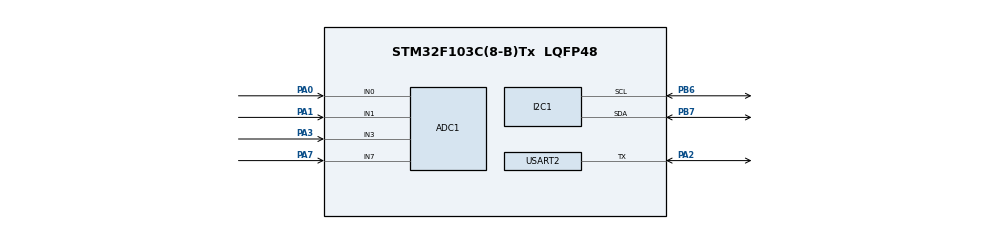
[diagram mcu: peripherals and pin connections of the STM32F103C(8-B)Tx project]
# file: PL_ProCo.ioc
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ADC1.Channel-0\#ChannelRegularConversion=ADC_CHANNEL_0
ADC1.Channel-1\#ChannelRegularConversion=ADC_CHANNEL_1
ADC1.Channel-2\#ChannelRegularConversion=ADC_CHANNEL_3
ADC1.Channel-3\#ChannelRegularConversion=ADC_CHANNEL_7
ADC1.ContinuousConvMode=ENABLE
ADC1.NbrOfConversion=4
ADC1.NbrOfConversionFlag=1
ADC1.Rank-0\#ChannelRegularConversion=1
ADC1.Rank-1\#ChannelRegularConversion=2
ADC1.Rank-2\#ChannelRegularConversion=3
ADC1.Rank-3\#ChannelRegularConversion=4
ADC1.SamplingTime-0\#ChannelRegularConversion=ADC_SAMPLETIME_55CYCLES_5
ADC1.SamplingTime-1\#ChannelRegularConversion=ADC_SAMPLETIME_55CYCLES_5
ADC1.SamplingTime-2\#ChannelRegularConversion=ADC_SAMPLETIME_55CYCLES_5
ADC1.SamplingTime-3\#ChannelRegularConversion=ADC_SAMPLETIME_55CYCLES_5
ADC1.master=1
Dma.ADC1.0.Direction=DMA_PERIPH_TO_MEMORY
Dma.ADC1.0.Instance=DMA1_Channel1
Dma.ADC1.0.MemDataAlignment=DMA_MDATAALIGN_WORD
Dma.ADC1.0.MemInc=DMA_MINC_ENABLE
Dma.ADC1.0.Mode=DMA_CIRCULAR
Dma.ADC1.0.PeriphDataAlignment=DMA_PDATAALIGN_WORD
Dma.ADC1.0.PeriphInc=DMA_PINC_DISABLE
Dma.ADC1.0.Priority=DMA_PRIORITY_LOW
Dma.Request0=ADC1
Mcu.Family=STM32F1
Mcu.Name=STM32F103C(8-B)Tx
Mcu.Package=LQFP48
NVIC.DMA1_Channel1_IRQn=true\:0\:0\:false\:false\:true\:false\:true\:true
NVIC.PriorityGroup=NVIC_PRIORITYGROUP_4
PA0-WKUP.Signal=ADCx_IN0
PA1.Signal=ADCx_IN1
PA13.Mode=Serial_Wire
PA13.Signal=SYS_JTMS-SWDIO
PA14.Mode=Serial_Wire
PA14.Signal=SYS_JTCK-SWCLK
PA2.Mode=Half_duplex(single_wire_mode)
PA2.Signal=USART2_TX
PA3.Signal=ADCx_IN3
PA7.Signal=ADCx_IN7
PB6.Mode=I2C
PB6.Signal=I2C1_SCL
PB7.Mode=I2C
PB7.Signal=I2C1_SDA
ProjectManager.HeapSize=0x200
ProjectManager.StackSize=0x400
ProjectManager.TargetToolchain=STM32CubeIDE
RCC.APB1Freq_Value=8000000
RCC.APB2Freq_Value=8000000
SH.ADCx_IN0.0=ADC1_IN0,IN0
SH.ADCx_IN1.0=ADC1_IN1,IN1
SH.ADCx_IN3.0=ADC1_IN3,IN3
SH.ADCx_IN7.0=ADC1_IN7,IN7
USART2.VirtualMode=VM_ASYNC
board=custom

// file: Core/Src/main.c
/* USER CODE BEGIN Header */
/**
  ******************************************************************************
  * @file           : main.c
  * @brief          : Main program body
  ******************************************************************************
  * @attention
  *
  * Copyright (c) 2024 STMicroelectronics.
  * All rights reserved.
  *
  * This software is licensed under terms that can be found in the LICENSE file
  * in the root directory of this software component.
  * If no LICENSE file comes with this software, it is provided AS-IS.
  *
  ******************************************************************************
  */
/* USER CODE END Header */
#include "main.h"

/* USER CODE BEGIN PD */
#define ADDR1 0b01100001
#define ADDR0 0b01100000
#define ADDR2 0b01100010
#define ADDR3 0b01100011

#define AMOUNT_LEDS 25
#define CW 1
#define MAX_AMOUNT_POTS 4
#define FLICKER_MARGIN 50
/* USER CODE END PD */

ADC_HandleTypeDef hadc1;
DMA_HandleTypeDef hdma_adc1;

I2C_HandleTypeDef hi2c1;

UART_HandleTypeDef huart2;

/* USER CODE BEGIN PV */
const uint8_t rows[AMOUNT_LEDS] = {4,4,4,3,3,3,3,3,2,2,2,2,2,1,1,1,1,1,5,5,5,5,5,4,4};
const uint8_t cols[AMOUNT_LEDS] = {3,4,5,1,2,3,4,5,1,2,3,4,5,1,2,3,4,5,1,2,3,4,5,1,2};
const uint8_t addresses[MAX_AMOUNT_POTS] = {ADDR0,ADDR1,ADDR2,ADDR3};

/* USER CODE END PV */

void SystemClock_Config(void);
static void MX_GPIO_Init(void);
static void MX_DMA_Init(void);
static void MX_ADC1_Init(void);
static void MX_I2C1_Init(void);
static void MX_USART2_UART_Init(void);
/* USER CODE BEGIN PFP */
void setOneLED(uint8_t, uint8_t);
void setupAnimation(uint8_t , uint8_t );

/* USER CODE END PFP */

/* USER CODE BEGIN 0 */
#include <errno.h>
#include <sys/stat.h>
#include <sys/times.h>
#include <sys/unistd.h>

/*----------------------------------------------------------------------------*/
int _write(int file, char *ptr, int len) {
    uint8_t xStatus;
    switch (file) {
    case STDOUT_FILENO: /*stdout*/
		xStatus = HAL_UART_Transmit(&huart2,(uint8_t*)ptr, len, HAL_MAX_DELAY);
		if (xStatus != HAL_OK) {
			errno = EIO;
			return -1;
		}
        break;
    case STDERR_FILENO: /* stderr */
		xStatus =  HAL_UART_Transmit(&huart2,(uint8_t*)ptr, len, HAL_MAX_DELAY);
		if (xStatus != HAL_OK) {
			errno = EIO;
			return -1;
		}
        break;
    default:
        errno = EBADF;
        return -1;
    }
    return len;
}

/*----------------------------------------------------------------------------*/
/* USER CODE END 0 */

int main(void)
{

  /* MCU Configuration--------------------------------------------------------*/

  /* Reset of all peripherals, Initializes the Flash interface and the Systick. */
  HAL_Init();

  /* Configure the system clock */
  SystemClock_Config();

  /* Initialize all configured peripherals */
  MX_GPIO_Init();
  MX_DMA_Init();
  MX_ADC1_Init();
  MX_I2C1_Init();
  MX_USART2_UART_Init();
  /* USER CODE BEGIN 2 */
  // Determine how many pots are connected
  uint8_t matrix_setting[4],i;
  uint8_t amount_pots_used = 0;
  uint8_t pots[MAX_AMOUNT_POTS];

  /* No shutdown */
  matrix_setting[0] = 0x00;
  matrix_setting[1] = 0x00;

  /* 5mA CC */
  matrix_setting[2] = 0x0D;
  matrix_setting[3] = 0x08;

  for(i = 0 ; i < MAX_AMOUNT_POTS ; i++)
  {
	  HAL_StatusTypeDef ret;
	  ret = HAL_I2C_Master_Transmit(&hi2c1,(addresses[i] << 1),matrix_setting, 4, HAL_MAX_DELAY);

	  if(ret == HAL_OK)
	  {
		  pots[i] = 1;
		  amount_pots_used++;

		  // Turn of leds of this pot
		  setOneLED(0, addresses[i]);
	  }
	  else
	  {
		  pots[i] = 0;
	  }
  }

  printf("Amount of pots detected: %d \r\n",amount_pots_used);

  // Measure once, and launch intro animation
  // range leds: 2 tot 23
  uint32_t adc_val[MAX_AMOUNT_POTS];
  uint32_t temp;
  uint32_t prev_led_value[MAX_AMOUNT_POTS];
  uint32_t prev_raw_adc_value[MAX_AMOUNT_POTS];

  uint32_t higherb = 4035;

  // Read ADC value, is stored in array adc_val
  HAL_ADC_Start_DMA(&hadc1,adc_val, MAX_AMOUNT_POTS);
  HAL_ADC_PollForConversion(&hadc1, HAL_MAX_DELAY);

  // Repeat above lines, weird ADC DMA glitch fix
  HAL_ADC_Start_DMA(&hadc1,adc_val, MAX_AMOUNT_POTS);
  HAL_ADC_PollForConversion(&hadc1, HAL_MAX_DELAY);

  for(i = 0 ; i < amount_pots_used ; i++)
  {
	  prev_raw_adc_value[i] =  adc_val[i];
	  prev_led_value[i] = higherb - adc_val[i];
	  prev_led_value[i] = prev_led_value[i] * 21 / higherb;
	  prev_led_value[i] += 2;
  }

  // Initial animation
  for(i = 0 ; i < amount_pots_used ; i++)
  {
	  setupAnimation(addresses[i],prev_led_value[i]);
  }

  /* USER CODE END 2 */

  /* Infinite loop */
  while (1)
  {

    /* USER CODE BEGIN 3 */
	HAL_ADC_Start_DMA(&hadc1,adc_val, MAX_AMOUNT_POTS);
	HAL_ADC_PollForConversion(&hadc1, HAL_MAX_DELAY);
	for(i = 0 ; i < amount_pots_used ; i++)
	{
		temp = higherb - adc_val[i];
		temp = temp * 21 / higherb;
		temp += 2;

		if(temp != prev_led_value[i])
		{
			// Prevents local flickering, switching between two states
			if(adc_val[i] < (prev_raw_adc_value[i] - FLICKER_MARGIN) || adc_val[i] > (prev_raw_adc_value[i] + FLICKER_MARGIN))
			{
				// Update led indication
				prev_led_value[i] = temp;
				setOneLED(prev_led_value[i],addresses[i]);
				prev_raw_adc_value[i] = adc_val[i];
			}

		}
	}
  }
  /* USER CODE END 3 */
}

void SystemClock_Config(void)
{
  RCC_OscInitTypeDef RCC_OscInitStruct = {0};
  RCC_ClkInitTypeDef RCC_ClkInitStruct = {0};
  RCC_PeriphCLKInitTypeDef PeriphClkInit = {0};

  /** Initializes the RCC Oscillators according to the specified parameters
  * in the RCC_OscInitTypeDef structure.
  */
  RCC_OscInitStruct.OscillatorType = RCC_OSCILLATORTYPE_HSI;
  RCC_OscInitStruct.HSIState = RCC_HSI_ON;
  RCC_OscInitStruct.HSICalibrationValue = RCC_HSICALIBRATION_DEFAULT;
  RCC_OscInitStruct.PLL.PLLState = RCC_PLL_NONE;
  if (HAL_RCC_OscConfig(&RCC_OscInitStruct) != HAL_OK)
  {
    Error_Handler();
  }

  /** Initializes the CPU, AHB and APB buses clocks
  */
  RCC_ClkInitStruct.ClockType = RCC_CLOCKTYPE_HCLK|RCC_CLOCKTYPE_SYSCLK
                              |RCC_CLOCKTYPE_PCLK1|RCC_CLOCKTYPE_PCLK2;
  RCC_ClkInitStruct.SYSCLKSource = RCC_SYSCLKSOURCE_HSI;
  RCC_ClkInitStruct.AHBCLKDivider = RCC_SYSCLK_DIV1;
  RCC_ClkInitStruct.APB1CLKDivider = RCC_HCLK_DIV1;
  RCC_ClkInitStruct.APB2CLKDivider = RCC_HCLK_DIV1;

  if (HAL_RCC_ClockConfig(&RCC_ClkInitStruct, FLASH_LATENCY_0) != HAL_OK)
  {
    Error_Handler();
  }
  PeriphClkInit.PeriphClockSelection = RCC_PERIPHCLK_ADC;
  PeriphClkInit.AdcClockSelection = RCC_ADCPCLK2_DIV2;
  if (HAL_RCCEx_PeriphCLKConfig(&PeriphClkInit) != HAL_OK)
  {
    Error_Handler();
  }
}

static void MX_ADC1_Init(void)
{

  ADC_ChannelConfTypeDef sConfig = {0};

  /** Common config
  */
  hadc1.Instance = ADC1;
  hadc1.Init.ScanConvMode = ADC_SCAN_ENABLE;
  hadc1.Init.ContinuousConvMode = ENABLE;
  hadc1.Init.DiscontinuousConvMode = DISABLE;
  hadc1.Init.ExternalTrigConv = ADC_SOFTWARE_START;
  hadc1.Init.DataAlign = ADC_DATAALIGN_RIGHT;
  hadc1.Init.NbrOfConversion = 4;
  if (HAL_ADC_Init(&hadc1) != HAL_OK)
  {
    Error_Handler();
  }

  /** Configure Regular Channel
  */
  sConfig.Channel = ADC_CHANNEL_0;
  sConfig.Rank = ADC_REGULAR_RANK_1;
  sConfig.SamplingTime = ADC_SAMPLETIME_55CYCLES_5;
  if (HAL_ADC_ConfigChannel(&hadc1, &sConfig) != HAL_OK)
  {
    Error_Handler();
  }

  /** Configure Regular Channel
  */
  sConfig.Channel = ADC_CHANNEL_1;
  sConfig.Rank = ADC_REGULAR_RANK_2;
  if (HAL_ADC_ConfigChannel(&hadc1, &sConfig) != HAL_OK)
  {
    Error_Handler();
  }

  /** Configure Regular Channel
  */
  sConfig.Channel = ADC_CHANNEL_3;
  sConfig.Rank = ADC_REGULAR_RANK_3;
  if (HAL_ADC_ConfigChannel(&hadc1, &sConfig) != HAL_OK)
  {
    Error_Handler();
  }

  /** Configure Regular Channel
  */
  sConfig.Channel = ADC_CHANNEL_7;
  sConfig.Rank = ADC_REGULAR_RANK_4;
  if (HAL_ADC_ConfigChannel(&hadc1, &sConfig) != HAL_OK)
  {
    Error_Handler();
  }

}

static void MX_I2C1_Init(void)
{

  hi2c1.Instance = I2C1;
  hi2c1.Init.ClockSpeed = 100000;
  hi2c1.Init.DutyCycle = I2C_DUTYCYCLE_2;
  hi2c1.Init.OwnAddress1 = 0;
  hi2c1.Init.AddressingMode = I2C_ADDRESSINGMODE_7BIT;
  hi2c1.Init.DualAddressMode = I2C_DUALADDRESS_DISABLE;
  hi2c1.Init.OwnAddress2 = 0;
  hi2c1.Init.GeneralCallMode = I2C_GENERALCALL_DISABLE;
  hi2c1.Init.NoStretchMode = I2C_NOSTRETCH_DISABLE;
  if (HAL_I2C_Init(&hi2c1) != HAL_OK)
  {
    Error_Handler();
  }

}

static void MX_USART2_UART_Init(void)
{

  huart2.Instance = USART2;
  huart2.Init.BaudRate = 115200;
  huart2.Init.WordLength = UART_WORDLENGTH_8B;
  huart2.Init.StopBits = UART_STOPBITS_1;
  huart2.Init.Parity = UART_PARITY_NONE;
  huart2.Init.Mode = UART_MODE_TX_RX;
  huart2.Init.HwFlowCtl = UART_HWCONTROL_NONE;
  huart2.Init.OverSampling = UART_OVERSAMPLING_16;
  if (HAL_HalfDuplex_Init(&huart2) != HAL_OK)
  {
    Error_Handler();
  }

}

static void MX_DMA_Init(void)
{

  /* DMA controller clock enable */
  __HAL_RCC_DMA1_CLK_ENABLE();

  /* DMA interrupt init */
  /* DMA1_Channel1_IRQn interrupt configuration */
  HAL_NVIC_SetPriority(DMA1_Channel1_IRQn, 0, 0);
  HAL_NVIC_EnableIRQ(DMA1_Channel1_IRQn);

}

static void MX_GPIO_Init(void)
{

  /* GPIO Ports Clock Enable */
  __HAL_RCC_GPIOA_CLK_ENABLE();
  __HAL_RCC_GPIOB_CLK_ENABLE();

}

/* USER CODE BEGIN 4 */

void setupAnimation(uint8_t address, uint8_t led)
{
	uint8_t i;

	for(i = 1 ; i <= led ; i++)
	{
		setOneLED(i,address);
		HAL_Delay(10);
	}
}

void setOneLED(uint8_t led, uint8_t addr)
{
	uint8_t data[12];

	if(led == 0)
	{
		//Clear all
		uint8_t i;

		for(i = 0 ; i < 10 ; i+=2)
		{
			data[i] = (i/2)+1;
			data[i+1] = 0;
		}

		data[10] = 0x0c;
		data[11] = 0xaa;

		HAL_I2C_Master_Transmit(&hi2c1,addr << 1, data,12,HAL_MAX_DELAY);
	}

	if(led >= 1 && led <= 25)
	{
		//Lit one LED
		uint8_t i;

		for(i = 0 ; i < 10 ; i+=2)
		{
			data[i] = (i/2)+1;
			data[i+1] = 0;
		}

		data[(cols[led-1]*2)-1] = 0b00000001 << (rows[led-1]-1);

		data[10] = 0x0c;
		data[11] = 0xaa;

		HAL_I2C_Master_Transmit(&hi2c1,addr << 1, data,12,HAL_MAX_DELAY);
	}
}
/* USER CODE END 4 */

void Error_Handler(void)
{
  __disable_irq();
  while (1)
  {
  }
}
